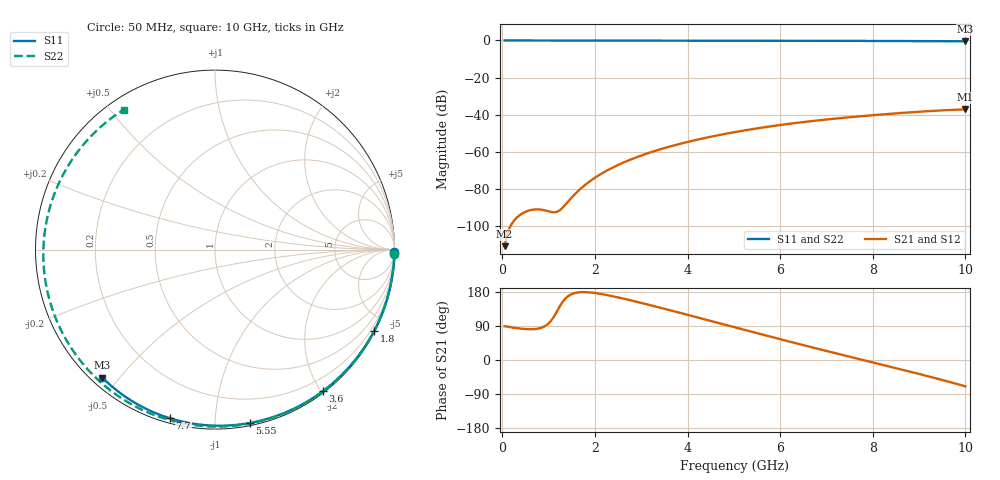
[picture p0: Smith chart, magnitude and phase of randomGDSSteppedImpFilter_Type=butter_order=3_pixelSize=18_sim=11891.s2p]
! freq	dB(S11)	phase(S11)	dB(S12)	phase(S12)
!  dB(S21)	phase(S21)	dB(S22)	phase(S22)
!S-par simulation data
#  GHz  S  DB  R 50
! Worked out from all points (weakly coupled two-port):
!   200 points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, 50 MHz to 10 GHz, reference 50 ohm
!   highest |S21| = -37.11 dB at 10 GHz (marker M1); lowest = -110.8 dB at 50 MHz (marker M2)
!   lowest |S11| = -0.4 dB at 10 GHz (marker M3), VSWR 38.99, Z = 1.54 - j22.6 ohm
!   |S11| at or under -10 dB: nowhere
!   |S22| runs from -0.6 to 0.0 dB; largest |S21 - S12| = 0
!   S11 on the Smith chart (normalised r, x): 50 MHz: open; 1.8 GHz: 0.04, -4.18; 3.6 GHz: 0.02, -2.02; 5.55 GHz: 0.02, -1.22; 7.7 GHz: 0.02, -0.77; 10 GHz: 0.03, -0.45
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0.05  -0.00 -0.8  -110.78 89.1  -110.78 89.1  -0.00 -1.3
0.8  -0.02 -12.1  -91.02 83.6  -91.02 83.6  -0.03 -20.7
1.65  -0.03 -24.7  -80.77 178.5  -80.77 178.5  -0.05 -42.2
1.7  -0.03 -25.4  -79.64 179.0  -79.64 179.0  -0.06 -43.5
1.75  -0.03 -26.2  -78.57 179.2  -78.57 179.2  -0.06 -44.7
1.8  -0.03 -26.9  -77.55 179.1  -77.55 179.1  -0.06 -46.0
2.1  -0.04 -31.3  -72.36 174.9  -72.36 174.9  -0.07 -53.3
2.5  -0.05 -37.1  -67.05 165.2  -67.05 165.2  -0.08 -63.0
2.9  -0.06 -42.8  -62.88 153.7  -62.88 153.7  -0.09 -72.5
3.4  -0.07 -49.8  -58.69 138.3  -58.69 138.3  -0.11 -84.2
3.6  -0.07 -52.6  -57.25 132.0  -57.25 132.0  -0.12 -88.7
4.3  -0.09 -62.2  -52.93 109.6  -52.93 109.6  -0.15 -104.4
5.05  -0.11 -72.1  -49.22 85.4  -49.22 85.4  -0.18 -120.9
5.55  -0.13 -78.6  -47.15 69.3  -47.15 69.3  -0.21 -131.7
6.15  -0.15 -86.2  -45.03 50.2  -45.03 50.2  -0.26 -144.6
6.7  -0.18 -93.0  -43.37 33.0  -43.37 33.0  -0.30 -156.6
7.2  -0.21 -99.0  -42.06 17.7  -42.06 17.7  -0.34 -167.7
7.7  -0.24 -105.0  -40.90 2.7  -40.90 2.7  -0.38 -179.0
8.35  -0.29 -112.5  -39.56 -16.8  -39.56 -16.8  -0.45 165.7
9.15  -0.36 -121.7  -38.15 -41.4  -38.15 -41.4  -0.54 145.7
9.55  -0.40 -126.2  -37.58 -54.3  -37.58 -54.3  -0.58 135.2
10  -0.45 -131.3  -37.11 -69.4  -37.11 -69.4  -0.62 123.0
